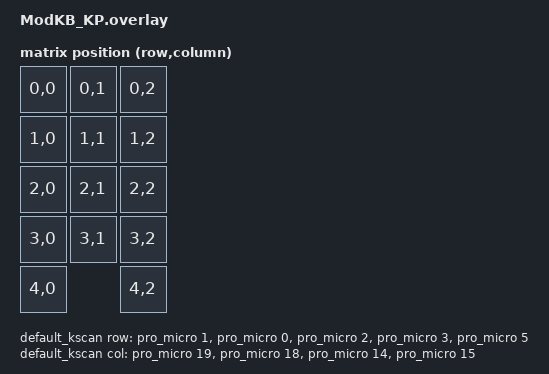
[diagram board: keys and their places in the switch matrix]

#include <dt-bindings/zmk/matrix_transform.h>
#include <dt-bindings/zmk/hid_indicators.h>
#include <nice_nano.dtsi>

/ {
    chosen{
        zmk,kscan = &default_kscan;
        zmk,matrix_transform = &default_transform;
    };


    // PIN MAPPING
    // Which pins are active, sectioned by row-column, diode move col2row

    //for keypad only right now
    default_kscan: kscan { 
        compatible = "zmk,kscan-gpio-matrix";
        diode-direction = "col2row";
        row-gpios
            = <&pro_micro 1 (GPIO_ACTIVE_HIGH | GPIO_PULL_DOWN) > // row 31
            , <&pro_micro 0 (GPIO_ACTIVE_HIGH | GPIO_PULL_DOWN) > // row 32
            , <&pro_micro 2 (GPIO_ACTIVE_HIGH | GPIO_PULL_DOWN) > // row 33
            , <&pro_micro 3 (GPIO_ACTIVE_HIGH | GPIO_PULL_DOWN) > // row 34
            , <&pro_micro 5 (GPIO_ACTIVE_HIGH | GPIO_PULL_DOWN) > // row 35

            //, <&pro_micro 8 (GPIO_ACTIVE_HIGH | GPIO_PULL_DOWN) > // ROT A
            //, <&pro_micro 6 (GPIO_ACTIVE_HIGH | GPIO_PULL_DOWN) > // ROT B
            //, <&pro_micro 7 (GPIO_ACTIVE_HIGH | GPIO_PULL_DOWN) > // ROT C

            ;
        col-gpios 
            = <&pro_micro 19 GPIO_ACTIVE_HIGH > // column 31
            , <&pro_micro 18 GPIO_ACTIVE_HIGH > // column 32
            , <&pro_micro 14 GPIO_ACTIVE_HIGH > // column 33
            , <&pro_micro 15 GPIO_ACTIVE_HIGH > // column 34
            ;
    };


    // #include "matrix_transform.h" defines row coulmn like this

    // Physical layout
    default_transform: matrix_transform {
        compatible = "zmk,matrix-transform";
        columns = <3>;
        rows = <5>;
        map = <
            RC(0,0) RC(0,1) RC(0,2) 
            RC(1,0) RC(1,1) RC(1,2) 
            RC(2,0) RC(2,1) RC(2,2) 
            RC(3,0) RC(3,1) RC(3,2) 
            RC(4,0)         RC(4,2) 
        >;
    };

};

/ {
    // development verison, cant use the library in 0.3V
    leds {
        compatible = "gpio-leds";

        num_lock_led: num_lock{
            gpios = <&gpio0 21 GPIO_ACTIVE_HIGH>;
        };
    };

    indicators {
            compatible = "zmk,indicator-leds";

            num_lock_indicator: num_lock {
                indicator = <HID_INDICATOR_NUM_LOCK>;
                leds = <&num_lock_led>;
            };
    };

};


